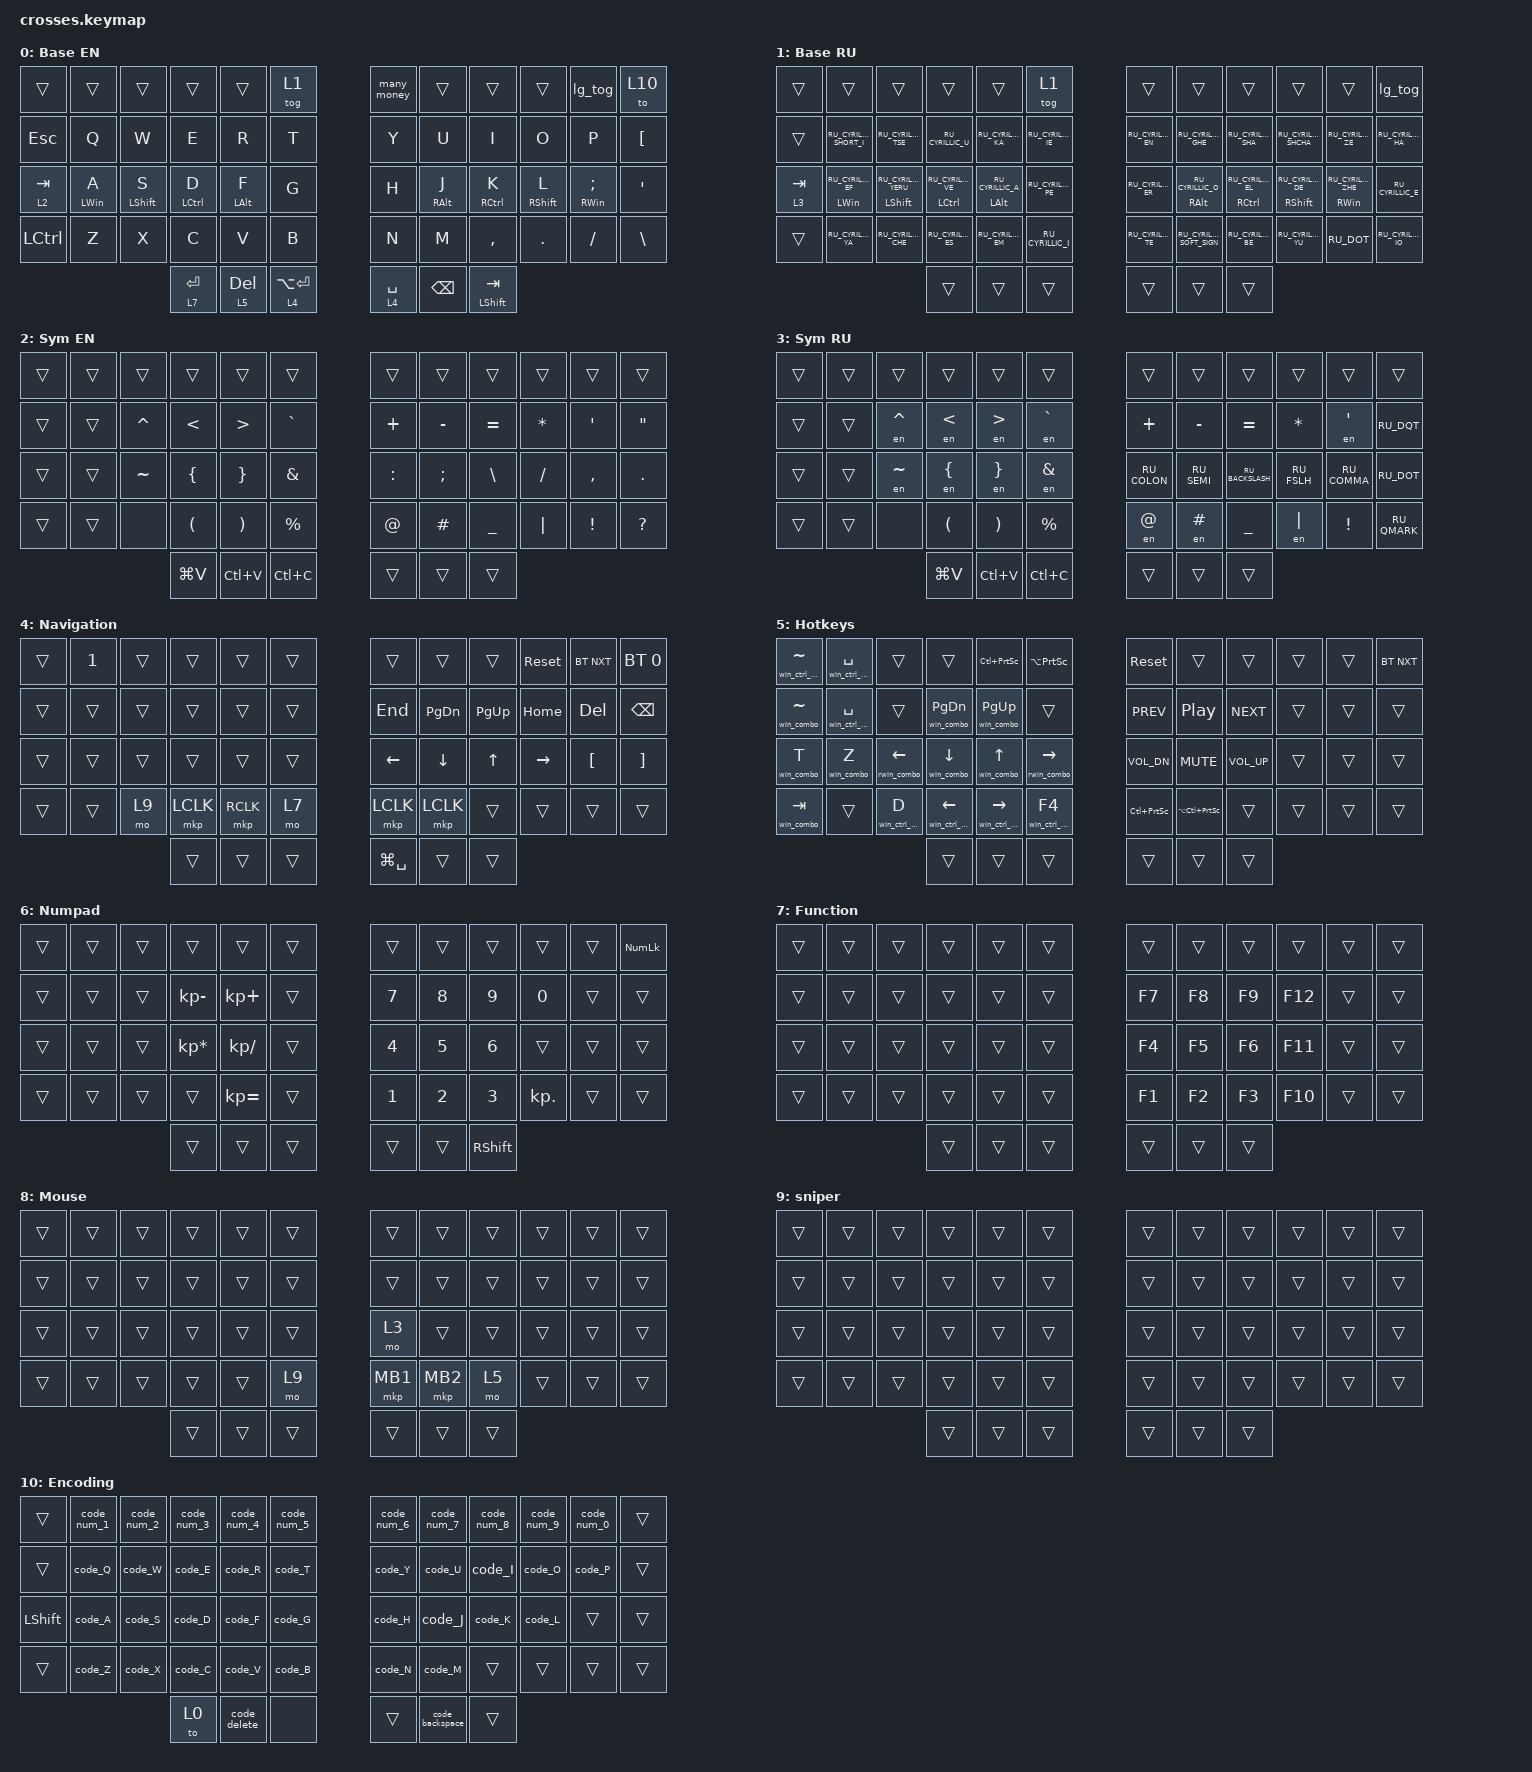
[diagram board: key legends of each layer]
#include "keys_ru.h"
#include <input/processors.dtsi>
#include <dt-bindings/zmk/input_transform.h>
#include <dt-bindings/zmk/modifiers.h>
#include <behaviors.dtsi>
#include <dt-bindings/zmk/bt.h>
#include <dt-bindings/zmk/keys.h>
#include <dt-bindings/zmk/pointing.h>

/ {
    chosen { zmk,physical-layout = &gggw_crosses_54_layout; };

    behaviors {
        space_layer_shent: space_layer_shent {
            compatible = "zmk,behavior-tap-dance";
            label = "SPACE_LAYER_SHENT";
            #binding-cells = <0>;
            bindings = <&lt 4 SPACE>, <&kp LS(ENTER)>;
        };

        td_M: td_M {
            compatible = "zmk,behavior-tap-dance";
            label = "TD_M";
            #binding-cells = <0>;
            bindings = <&kp M>, <&kp RIGHT_BRACKET>;
        };

        lt_mkp: lt_mkp {
            compatible = "zmk,behavior-hold-tap";
            label = "LT_MKP";
            #binding-cells = <2>;
            flavor = "tap-preferred";
            tapping-term-ms = <200>;
            quick-tap-ms = <200>;
            require-prior-idle-ms = <125>;
            bindings = <&mo>, <&mkp>;
        };

        lt {
            flavor = "hold-preferred";
            tapping-term-ms = <175>;
            quick-tap-ms = <200>;
        };

        hrm_right: hrm_right {
            compatible = "zmk,behavior-hold-tap";
            label = "HRM_RIGHT";
            bindings = <&kp>, <&kp>;

            #binding-cells = <2>;
            tapping-term-ms = <200>;
            quick-tap-ms = <200>;
            require-prior-idle-ms = <125>;
            flavor = "tap-preferred";
            hold-trigger-key-positions = <0 1 12 13 14 15 16 17 24 25 26 27 28 29 39 40 41 0 1 2 3 4 5 12 13 14 15 16 17 24 25 26 27 28 29 36 37 38 39 40 41>;
            hold-trigger-on-release;
        };

        hrm_left: hrm_left {
            compatible = "zmk,behavior-hold-tap";
            label = "HRM_LEFT";
            bindings = <&kp>, <&kp>;

            #binding-cells = <2>;
            tapping-term-ms = <200>;
            quick-tap-ms = <200>;
            require-prior-idle-ms = <125>;
            flavor = "tap-preferred";
            hold-trigger-key-positions = <47 7 20 9 21 33 33 46 34 22 10 11 23 35 45 8 32 44 43 42 30 31 19 18 6>;
            hold-trigger-on-release;
        };

        backspace: backspace {
            compatible = "zmk,behavior-tap-dance";
            label = "BACKSPACE";
            #binding-cells = <0>;
            bindings = <&mt BACKSPACE BACKSPACE>, <&kp LC(BACKSPACE)>;
        };

        code_backspace: code_backspace {
            compatible = "zmk,behavior-macro";
            label = "CODE_BACKSPACE";
            #binding-cells = <0>;
            bindings = <&kp BACKSPACE &kp BACKSPACE &kp BACKSPACE &kp BACKSPACE>;
        };

        code_delete: code_delete {
            compatible = "zmk,behavior-macro";
            label = "CODE_DELETE";
            #binding-cells = <0>;
            bindings = <&kp DELETE &kp DELETE &kp DELETE &kp DELETE>;
        };

        lg_space: lg_space {
            compatible = "zmk,behavior-mod-morph";
            label = "LG_SPACE";
            #binding-cells = <0>;
            bindings = <&kp SPACE>, <&lg_tog>;

            mods = <(MOD_LGUI)>;
        };
    };

    combos {
        compatible = "zmk,combos";

        num_lauer {
            bindings = <&mo 6>;
            key-positions = <50 49>;
            timeout-ms = <200>;
            require-prior-idle-ms = <100>;
            slow-release;
        };

        en_sym {
            bindings = <&mo 2>;
            key-positions = <48 49>;
            timeout-ms = <120>;
            require-prior-idle-ms = <200>;
            slow-release;
            layers = <0>;
        };

        lang {
            bindings = <&lg_tog>;
            key-positions = <36 50>;
            timeout-ms = <150>;
        };

        ru_sym {
            bindings = <&mo 3>;
            key-positions = <48 49>;
            timeout-ms = <120>;
            slow-release;
            require-prior-idle-ms = <200>;
            layers = <1>;
        };
    };

    macros {
        many_money: many_money {
            compatible = "zmk,behavior-macro";
            #binding-cells = <0>;
            bindings = <&none &kp LS(D) &kp O &kp C &kp K &kp E &kp R &kp SPACE &kp C &kp O &kp M &kp P &kp O &kp S &kp E &kp SPACE &kp LS(U) &kp LS(P) &kp SPACE &kp MINUS &kp D &kp SPACE &kp N7 &kp N2 &kp N3 &kp N0 &kp N5>;
            label = "MANY_MONEY";
        };

        lg_tog: lg_tog {
            compatible = "zmk,behavior-macro";
            #binding-cells = <0>;
            label = "LG_TOG";
            bindings = <&kp LG(SPACE) &tog 1>;
            tap-ms = <30>;
            wait-ms = <0>;
        };

        to_ru: to_ru {
            compatible = "zmk,behavior-macro";
            #binding-cells = <0>;
            bindings = <&kp LG(SPACE)>;
            label = "TO_RU";
            wait-ms = <0>;
            tap-ms = <30>;
        };

        to_en: to_en {
            compatible = "zmk,behavior-macro";
            #binding-cells = <0>;
            bindings = <&kp LG(SPACE)>;
            label = "TO_EN";
            wait-ms = <0>;
            tap-ms = <30>;
        };

        layer_en: layer_en {
            compatible = "zmk,behavior-macro";
            #binding-cells = <0>;
            bindings = <&to 0 &to_en>;
            label = "LAYER_EN";
            wait-ms = <0>;
            tap-ms = <30>;
        };

        layer_ru: layer_ru {
            compatible = "zmk,behavior-macro";
            #binding-cells = <0>;
            bindings = <&to 1 &to_ru>;
            label = "LAYER_RU";
            tap-ms = <30>;
            wait-ms = <0>;
        };

        en: en {
            compatible = "zmk,behavior-macro-one-param";
            #binding-cells = <1>;
            bindings =
                <&to_en>,
                <&macro_press>,
                <&macro_param_1to1 &kp MACRO_PLACEHOLDER>,
                <&macro_pause_for_release>,
                <&macro_release>,
                <&macro_param_1to1 &kp MACRO_PLACEHOLDER>,
                <&macro_tap>,
                <&to_ru>;

            label = "EN";
            wait-ms = <0>;
            tap-ms = <30>;
        };

        win_combo: win_combo {
            compatible = "zmk,behavior-macro-one-param";
            #binding-cells = <1>;
            wait-ms = <0>;
            tap-ms = <30>;
            bindings =
                <&macro_press>,
                <&kp LGUI>,
                <&macro_tap>,
                <&macro_param_1to1 &kp MACRO_PLACEHOLDER>,
                <&macro_release>,
                <&kp LGUI>;

            label = "WIN_COMBO";
        };

        rwin_combo: rwin_combo {
            compatible = "zmk,behavior-macro-one-param";
            #binding-cells = <1>;
            wait-ms = <0>;
            tap-ms = <30>;
            bindings =
                <&macro_press>,
                <&kp RGUI>,
                <&macro_tap>,
                <&macro_param_1to1 &kp MACRO_PLACEHOLDER>,
                <&macro_release>,
                <&kp RGUI>;

            label = "RWIN_COMBO";
        };

        win_ctrl_combo: win_ctrl_combo {
            compatible = "zmk,behavior-macro-one-param";
            #binding-cells = <1>;
            wait-ms = <0>;
            tap-ms = <30>;
            bindings =
                <&macro_press>,
                <&kp LCTRL &kp LGUI>,
                <&macro_tap>,
                <&macro_param_1to1 &kp MACRO_PLACEHOLDER>,
                <&macro_release>,
                <&kp LGUI>,
                <&macro_release>,
                <&kp LCTRL>;

            label = "WIN_CTRL_COMBO";
        };

        #include "encoding_macros.dtsi"
    };

    keymap {
        compatible = "zmk,keymap";

        base_en {
            display-name = "Base EN";
            bindings = <
&trans      &trans                &trans                  &trans             &trans                &tog 1           &many_money  &trans                  &trans              &trans                    &lg_tog                         &to 10
&kp ESCAPE  &kp Q                 &kp W                   &kp E              &kp R                 &kp T            &kp Y        &kp U                   &kp I               &kp O                     &kp P                           &kp LEFT_BRACKET
&lt 2 TAB   &hrm_left LEFT_WIN A  &hrm_left LEFT_SHIFT S  &hrm_left LCTRL D  &hrm_left LEFT_ALT F  &kp G            &kp H        &hrm_right RIGHT_ALT J  &hrm_right RCTRL K  &hrm_right RIGHT_SHIFT L  &hrm_right RIGHT_WIN SEMICOLON  &kp SQT
&kp LCTRL   &kp Z                 &kp X                   &kp C              &kp V                 &kp B            &kp N        &kp M                   &kp COMMA           &kp DOT                   &kp FSLH                        &kp BACKSLASH
                                                          &lt 7 ENTER        &lt 5 DEL             &lt 4 LA(ENTER)  &lt 4 SPACE  &kp BACKSPACE           &mt LEFT_SHIFT TAB
            >;
        };

        base_ru {
            display-name = "Base RU";
            bindings = <
&trans     &trans                             &trans                                 &trans                          &trans                            &tog 1              &trans              &trans                              &trans                           &trans                                 &trans                                &lg_tog
&trans     &kp RU_CYRILLIC_SHORT_I            &kp RU_CYRILLIC_TSE                    &kp RU_CYRILLIC_U               &kp RU_CYRILLIC_KA                &kp RU_CYRILLIC_IE  &kp RU_CYRILLIC_EN  &kp RU_CYRILLIC_GHE                 &kp RU_CYRILLIC_SHA              &kp RU_CYRILLIC_SHCHA                  &kp RU_CYRILLIC_ZE                    &kp RU_CYRILLIC_HA
&lt 3 TAB  &hrm_left LEFT_WIN RU_CYRILLIC_EF  &hrm_left LEFT_SHIFT RU_CYRILLIC_YERU  &hrm_left LCTRL RU_CYRILLIC_VE  &hrm_left LEFT_ALT RU_CYRILLIC_A  &kp RU_CYRILLIC_PE  &kp RU_CYRILLIC_ER  &hrm_right RIGHT_ALT RU_CYRILLIC_O  &hrm_right RCTRL RU_CYRILLIC_EL  &hrm_right RIGHT_SHIFT RU_CYRILLIC_DE  &hrm_right RIGHT_WIN RU_CYRILLIC_ZHE  &kp RU_CYRILLIC_E
&trans     &kp RU_CYRILLIC_YA                 &kp RU_CYRILLIC_CHE                    &kp RU_CYRILLIC_ES              &kp RU_CYRILLIC_EM                &kp RU_CYRILLIC_I   &kp RU_CYRILLIC_TE  &kp RU_CYRILLIC_SOFT_SIGN           &kp RU_CYRILLIC_BE               &kp RU_CYRILLIC_YU                     &kp RU_DOT                            &kp RU_CYRILLIC_IO
                                                                                     &trans                          &trans                            &trans              &trans              &trans                              &trans
            >;
        };

        sym_en {
            display-name = "Sym EN";
            bindings = <
&trans  &trans  &trans     &trans     &trans     &trans         &trans     &trans     &trans         &trans        &trans          &trans
&trans  &trans  &kp CARET  &kp LT     &kp GT     &kp GRAVE      &kp PLUS   &kp MINUS  &kp EQUAL      &kp ASTERISK  &kp APOSTROPHE  &kp DQT
&trans  &trans  &kp TILDE  &kp LBRC   &kp RBRC   &kp AMPERSAND  &kp COLON  &kp SEMI   &kp BACKSLASH  &kp SLASH     &kp COMMA       &kp DOT
&trans  &trans  &none      &kp LPAR   &kp RPAR   &kp PERCENT    &kp AT     &kp HASH   &kp UNDER      &kp PIPE      &kp EXCL        &kp QUESTION
                           &kp LG(V)  &kp LC(V)  &kp LC(C)      &trans     &trans     &trans
            >;
        };

        sym_ru {
            display-name = "Sym RU";
            bindings = <
&trans  &trans  &trans     &trans     &trans     &trans     &trans        &trans       &trans            &trans       &trans        &trans
&trans  &trans  &en CARET  &en LT     &en GT     &en GRAVE  &kp PLUS      &kp MINUS    &kp EQUAL         &kp STAR     &en SQT       &kp RU_DQT
&trans  &trans  &en TILDE  &en LBRC   &en RBRC   &en AMPS   &kp RU_COLON  &kp RU_SEMI  &kp RU_BACKSLASH  &kp RU_FSLH  &kp RU_COMMA  &kp RU_DOT
&trans  &trans  &none      &kp LPAR   &kp RPAR   &kp PRCNT  &en AT        &en HASH     &kp UNDER         &en PIPE     &kp EXCL      &kp RU_QMARK
                           &kp LG(V)  &kp LC(V)  &kp LC(C)  &trans        &trans       &trans
            >;
        };

        nav_layer {
            display-name = "Navigation";
            bindings = <
&trans  &kp N1  &trans  &trans     &trans     &trans  &trans          &trans          &trans        &sys_reset  &bt BT_NXT        &bt BT_SEL 0
&trans  &trans  &trans  &trans     &trans     &trans  &kp END         &kp PAGE_DOWN   &kp PAGE_UP   &kp HOME    &kp DELETE        &kp BACKSPACE
&trans  &trans  &trans  &trans     &trans     &trans  &kp LEFT_ARROW  &kp DOWN_ARROW  &kp UP_ARROW  &kp RIGHT   &kp LEFT_BRACKET  &kp RIGHT_BRACKET
&trans  &trans  &mo 9   &mkp LCLK  &mkp RCLK  &mo 7   &mkp LCLK       &mkp LCLK       &trans        &trans      &trans            &trans
                        &trans     &trans     &trans  &kp LG(SPACE)   &trans          &trans
            >;
        };

        hotkey_layer {
            display-name = "Hotkeys";
            bindings = <
&win_ctrl_combo TILDE  &win_ctrl_combo SPACE  &trans                  &trans                 &kp LC(PRINTSCREEN)    &kp LA(PRINTSCREEN)  &sys_reset           &trans                   &trans           &trans  &trans  &bt BT_NXT
&win_combo TILDE       &win_ctrl_combo SPACE  &trans                  &win_combo PAGE_DOWN   &win_combo PAGE_UP     &trans               &kp K_PREV           &kp C_PLAY_PAUSE         &kp C_NEXT       &trans  &trans  &trans
&win_combo T           &win_combo Z           &rwin_combo LEFT_ARROW  &win_combo DOWN_ARROW  &win_combo UP_ARROW    &rwin_combo RIGHT    &kp C_VOL_DN         &kp K_MUTE               &kp C_VOLUME_UP  &trans  &trans  &trans
&win_combo TAB         &trans                 &win_ctrl_combo D       &win_ctrl_combo LEFT   &win_ctrl_combo RIGHT  &win_ctrl_combo F4   &kp LC(PRINTSCREEN)  &kp LA(LC(PRINTSCREEN))  &trans           &trans  &trans  &trans
                                                                      &trans                 &trans                 &trans               &trans               &trans                   &trans
            >;
        };

        numpad_layer {
            display-name = "Numpad";
            bindings = <
&trans  &trans  &trans  &trans           &trans         &trans  &trans  &trans  &trans           &trans      &trans  &kp KP_NUM
&trans  &trans  &trans  &kp KP_MINUS     &kp KP_PLUS    &trans  &kp N7  &kp N8  &kp N9           &kp N0      &trans  &trans
&trans  &trans  &trans  &kp KP_MULTIPLY  &kp KP_DIVIDE  &trans  &kp N4  &kp N5  &kp N6           &trans      &trans  &trans
&trans  &trans  &trans  &trans           &kp KP_EQUAL   &trans  &kp N1  &kp N2  &kp N3           &kp KP_DOT  &trans  &trans
                        &trans           &trans         &trans  &trans  &trans  &kp RIGHT_SHIFT
            >;
        };

        function_layer {
            display-name = "Function";
            bindings = <
&trans  &trans  &trans  &trans  &trans  &trans  &trans  &trans  &trans  &trans   &trans  &trans
&trans  &trans  &trans  &trans  &trans  &trans  &kp F7  &kp F8  &kp F9  &kp F12  &trans  &trans
&trans  &trans  &trans  &trans  &trans  &trans  &kp F4  &kp F5  &kp F6  &kp F11  &trans  &trans
&trans  &trans  &trans  &trans  &trans  &trans  &kp F1  &kp F2  &kp F3  &kp F10  &trans  &trans
                        &trans  &trans  &trans  &trans  &trans  &trans
            >;
        };

        mouse {
            display-name = "Mouse";
            bindings = <
&trans  &trans  &trans  &trans  &trans  &trans  &trans    &trans    &trans  &trans  &trans  &trans
&trans  &trans  &trans  &trans  &trans  &trans  &trans    &trans    &trans  &trans  &trans  &trans
&trans  &trans  &trans  &trans  &trans  &trans  &mo 3     &trans    &trans  &trans  &trans  &trans
&trans  &trans  &trans  &trans  &trans  &mo 9   &mkp MB1  &mkp MB2  &mo 5   &trans  &trans  &trans
                        &trans  &trans  &trans  &trans    &trans    &trans
            >;
        };

        sniper {
            bindings = <
&trans  &trans  &trans  &trans  &trans  &trans  &trans  &trans  &trans  &trans  &trans  &trans
&trans  &trans  &trans  &trans  &trans  &trans  &trans  &trans  &trans  &trans  &trans  &trans
&trans  &trans  &trans  &trans  &trans  &trans  &trans  &trans  &trans  &trans  &trans  &trans
&trans  &trans  &trans  &trans  &trans  &trans  &trans  &trans  &trans  &trans  &trans  &trans
                        &trans  &trans  &trans  &trans  &trans  &trans
            >;
        };

        encoding_layer {
            display-name = "Encoding";
            bindings = <
&trans          &code_num_1  &code_num_2  &code_num_3  &code_num_4   &code_num_5  &code_num_6  &code_num_7      &code_num_8  &code_num_9  &code_num_0  &trans
&trans          &code_Q      &code_W      &code_E      &code_R       &code_T      &code_Y      &code_U          &code_I      &code_O      &code_P      &trans
&kp LEFT_SHIFT  &code_A      &code_S      &code_D      &code_F       &code_G      &code_H      &code_J          &code_K      &code_L      &trans       &trans
&trans          &code_Z      &code_X      &code_C      &code_V       &code_B      &code_N      &code_M          &trans       &trans       &trans       &trans
                                          &to 0        &code_delete  &none        &trans       &code_backspace  &trans
            >;
        };
    };
};
